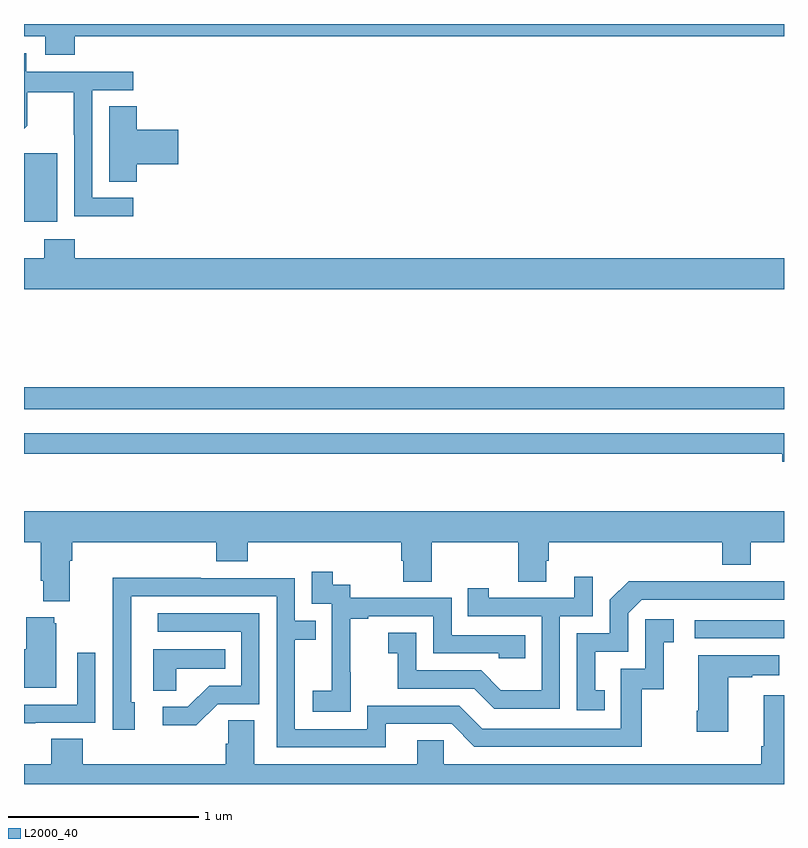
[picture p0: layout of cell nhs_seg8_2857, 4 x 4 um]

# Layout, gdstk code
import gdstk
lib = gdstk.Library(unit=1e-6, precision=1e-09)
def R(c, l, rs):  # rectangles x0, y0, x1, y1
    for r in rs: c.add(gdstk.rectangle(r[:2], r[2:], *l))
def P(c, l, *ps):  # polygons
    for p in ps: c.add(gdstk.Polygon(p, *l))
L2000_40 = (2000, 40)

nhs_seg8_2857 = lib.new_cell('nhs_seg8_2857')
R(nhs_seg8_2857, L2000_40, [(294.531,1110.666,295,1110.762), (291,1111.872,295,1111.988), (291,1112.858,291.175,1113.219)])
P(nhs_seg8_2857, L2000_40, [(291.266,1113.836),(295,1113.836),(295,1113.9),(291,1113.9),(291,1113.836),(291.113,1113.836),(291.113,1113.737),(291.266,1113.737)],
  [(291.574,1112.985),(291.36,1112.985),(291.36,1113.552),(291.574,1113.552),(291.574,1113.648),(291.012,1113.648),(291.012,1113.745),(291,1113.745),(291,1113.348),(291.017,1113.365),(291.017,1113.54),(291.262,1113.54),(291.262,1113.316),(291.264,1113.316),(291.264,1112.887),(291.574,1112.887)],
  [(291.593,1113.161),(291.811,1113.161),(291.811,1113.344),(291.593,1113.344),(291.593,1113.467),(291.449,1113.467),(291.449,1113.07),(291.593,1113.07)],
  [(295,1112.668),(291.266,1112.668),(291.266,1112.767),(291.106,1112.767),(291.106,1112.668),(291,1112.668),(291,1112.504),(295,1112.504)],
  [(295,1111.746),(291,1111.746),(291,1111.638),(294.992,1111.638),(294.992,1111.595),(295,1111.595)],
  [(291.241,1111.076),(291.254,1111.076),(291.254,1111.172),(292.013,1111.172),(292.013,1111.073),(292.178,1111.073),(292.178,1111.172),(292.985,1111.172),(292.985,1111.074),(292.997,1111.074),(292.997,1110.964),(293.145,1110.964),(293.145,1111.172),(293.602,1111.172),(293.602,1110.964),(293.749,1110.964),(293.749,1111.074),(293.762,1111.074),(293.762,1111.172),(294.674,1111.172),(294.674,1111.055),(294.826,1111.055),(294.826,1111.172),(295,1111.172),(295,1111.336),(291,1111.336),(291,1111.172),(291.089,1111.172),(291.089,1110.97),(291.101,1110.97),(291.101,1110.863),(291.241,1110.863)],
  [(292.719,1110.487),(292.718,1110.487),(292.718,1110.771),(292.813,1110.771),(292.813,1110.783),(293.154,1110.783),(293.154,1110.588),(293.499,1110.588),(293.499,1110.561),(293.639,1110.561),(293.639,1110.684),(293.25,1110.684),(293.25,1110.879),(292.716,1110.879),(292.716,1110.948),(292.624,1110.948),(292.624,1111.018),(292.515,1111.018),(292.515,1110.849),(292.62,1110.849),(292.62,1110.62),(292.619,1110.62),(292.619,1110.391),(292.521,1110.391),(292.521,1110.281),(292.719,1110.281)],
  [(293.82,1110.783),(293.994,1110.783),(293.994,1110.991),(293.897,1110.991),(293.897,1110.879),(293.446,1110.879),(293.446,1110.931),(293.335,1110.931),(293.335,1110.783),(293.724,1110.783),(293.724,1110.394),(293.51,1110.394),(293.406,1110.498),(293.064,1110.498),(293.064,1110.697),(292.917,1110.697),(292.917,1110.587),(292.966,1110.587),(292.966,1110.402),(293.369,1110.402),(293.474,1110.297),(293.82,1110.297)],
  [(292.903,1110.216),(293.25,1110.216),(293.37,1110.096),(294.25,1110.096),(294.25,1110.399),(294.368,1110.399),(294.368,1110.645),(294.421,1110.645),(294.421,1110.766),(294.27,1110.766),(294.27,1110.507),(294.141,1110.507),(294.141,1110.192),(293.412,1110.192),(293.292,1110.312),(292.806,1110.312),(292.806,1110.189),(292.425,1110.189),(292.425,1110.658),(292.535,1110.658),(292.535,1110.759),(292.425,1110.759),(292.425,1110.984),(291.929,1110.984),(291.929,1110.986),(291.466,1110.986),(291.466,1110.679),(291.468,1110.679),(291.468,1110.186),(291.583,1110.186),(291.583,1110.33),(291.564,1110.33),(291.564,1110.888),(292.329,1110.888),(292.329,1110.093),(292.903,1110.093)],
  [(294.056,1110.393),(294.007,1110.393),(294.007,1110.597),(294.18,1110.597),(294.18,1110.798),(294.252,1110.87),(295,1110.87),(295,1110.966),(294.59,1110.966),(294.59,1110.968),(294.182,1110.968),(294.084,1110.87),(294.084,1110.693),(293.91,1110.693),(293.91,1110.288),(294.056,1110.288)],
  [(292.02,1110.321),(292.239,1110.321),(292.239,1110.798),(291.705,1110.798),(291.705,1110.702),(292.143,1110.702),(292.143,1110.417),(291.974,1110.417),(291.863,1110.306),(291.729,1110.306),(291.729,1110.209),(291.907,1110.209)],
  [(291.169,1110.747),(291.158,1110.747),(291.158,1110.778),(291.011,1110.778),(291.011,1110.61),(291,1110.61),(291,1110.407),(291.169,1110.407)],
  [(291.801,1110.506),(292.058,1110.506),(292.058,1110.61),(291.68,1110.61),(291.68,1110.391),(291.801,1110.391)],
  [(291.059,1110.222),(291.375,1110.222),(291.375,1110.592),(291.279,1110.592),(291.279,1110.318),(291,1110.318),(291,1110.221),(291.059,1110.221)],
  [(294.706,1110.463),(294.833,1110.463),(294.833,1110.473),(294.976,1110.473),(294.976,1110.577),(294.548,1110.577),(294.548,1110.286),(294.541,1110.286),(294.541,1110.174),(294.706,1110.174)],
  [(295,1110.367),(294.893,1110.367),(294.893,1110.1),(294.881,1110.1),(294.881,1110.004),(293.208,1110.004),(293.208,1110.131),(293.069,1110.131),(293.069,1110.004),(292.213,1110.004),(292.213,1110.236),(292.074,1110.236),(292.074,1110.113),(292.061,1110.113),(292.061,1110.004),(291.308,1110.004),(291.308,1110.137),(291.143,1110.137),(291.143,1110.004),(291,1110.004),(291,1109.9),(295,1109.9)])

lib.write_gds('nhs_seg8_2857.gds')
